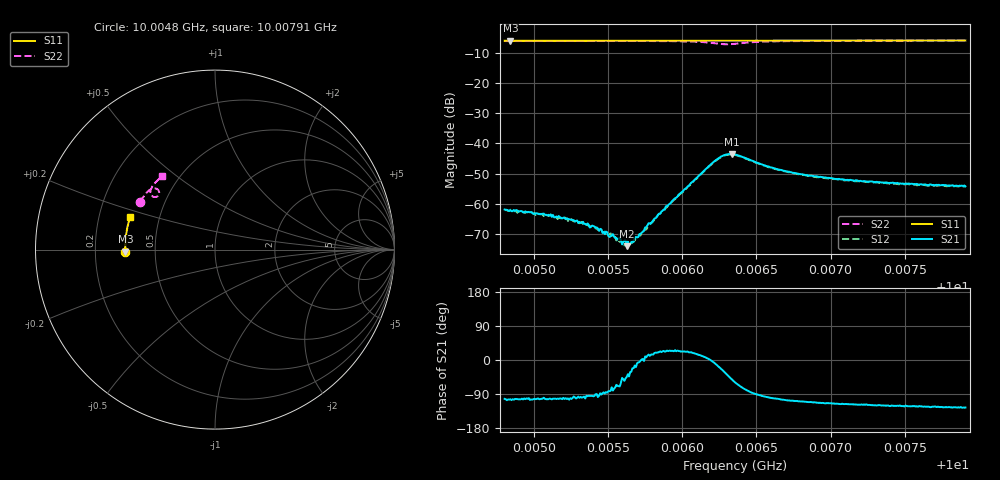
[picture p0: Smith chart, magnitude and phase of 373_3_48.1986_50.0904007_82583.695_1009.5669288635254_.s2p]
#  HZ  S  RI  R  50.00
! Rohde & Schwarz Vector Network Analyzer
! Rohde-Schwarz,ZNB20-2Port,1311601062101988,3.16
! Created: UTC 3/20/2024, 11:52:48 AM
! freq[Hz]  re:S11  im:S11  re:S21  im:S21  re:S12  im:S12  re:S22  im:S22
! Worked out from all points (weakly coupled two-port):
!   401 points, 10.0048 GHz to 10.00791 GHz, reference 50 ohm
!   highest |S21| = -43.51 dB at 10.00633 GHz (marker M1); lowest = -74.0 dB at 10.00563 GHz (marker M2)
!   lowest |S11| = -6.0 dB at 10.00484 GHz (marker M3), VSWR 2.99, Z = 16.7 - j0.553 ohm
!   |S11| at or under -10 dB: nowhere
!   |S22| runs from -7.2 to -6.0 dB; largest |S21 - S12| = 0.00037
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1.0004803e10  -0.499 -0.015  -0.000176 -0.000787  -0.00013 -0.00077  -0.416 0.2661
1.0004842e10  -0.499 -0.0124  -0.000183 -0.000762  -0.000144 -0.000784  -0.4147 0.2682
1.0004958e10  -0.4995 -0.00489  -0.000153 -0.000712  -0.000146 -0.000707  -0.4107 0.2751
1.0005129e10  -0.4999 0.00621  -0.000135 -0.000639  -0.000131 -0.00061  -0.4044 0.2853
1.0005323e10  -0.4998 0.0189  -7.83e-05 -0.000478  -5.01e-05 -0.000496  -0.3966 0.2968
1.0005408e10  -0.4999 0.0243  -3.52e-05 -0.000419  -2.13e-05 -0.000415  -0.3928 0.3019
1.0005486e10  -0.4997 0.0295  3.12e-05 -0.000345  6.15e-05 -0.000294  -0.3894 0.3065
1.0005533e10  -0.4997 0.0325  5.13e-05 -0.00031  6.58e-05 -0.000304  -0.3872 0.3095
1.0005571e10  -0.4995 0.0349  9.57e-05 -0.000247  0.000118 -0.000214  -0.3852 0.3118
1.000561e10  -0.4995 0.0374  0.000141 -0.000201  0.000116 -0.000169  -0.3832 0.3141
1.0005626e10  -0.4994 0.0385  0.000142 -0.00014  0.000182 -0.000134  -0.3823 0.3153
1.0005657e10  -0.4993 0.0404  0.000199 -0.000119  0.000199 -0.000102  -0.3807 0.3173
1.000575e10  -0.4989 0.0466  0.000401 6.64e-05  0.000374 4.38e-05  -0.3753 0.3231
1.0005843e10  -0.4985 0.0525  0.000641 0.000243  0.000629 0.000257  -0.3687 0.329
1.0006208e10  -0.4958 0.076  0.00484 -0.000445  0.00474 -0.000203  -0.3157 0.3311
1.0006278e10  -0.4951 0.0803  0.00553 -0.00309  0.00554 -0.00276  -0.3124 0.3079
1.0006332e10  -0.4947 0.0835  0.00425 -0.00515  0.00437 -0.00482  -0.3268 0.294
1.0006356e10  -0.4947 0.085  0.00336 -0.0056  0.00358 -0.00533  -0.3347 0.2928
1.0006643e10  -0.4922 0.1032  -0.000804 -0.00363  -0.000636 -0.0036  -0.358 0.3343
1.0006876e10  -0.4894 0.1181  -0.00107 -0.0027  -0.000919 -0.0027  -0.3475 0.3544
1.0007396e10  -0.4814 0.1508  -0.00115 -0.00189  -0.000989 -0.0019  -0.3215 0.3843
1.0007908e10  -0.4715 0.1821  -0.00113 -0.00159  -0.00105 -0.00161  -0.2955 0.4078
